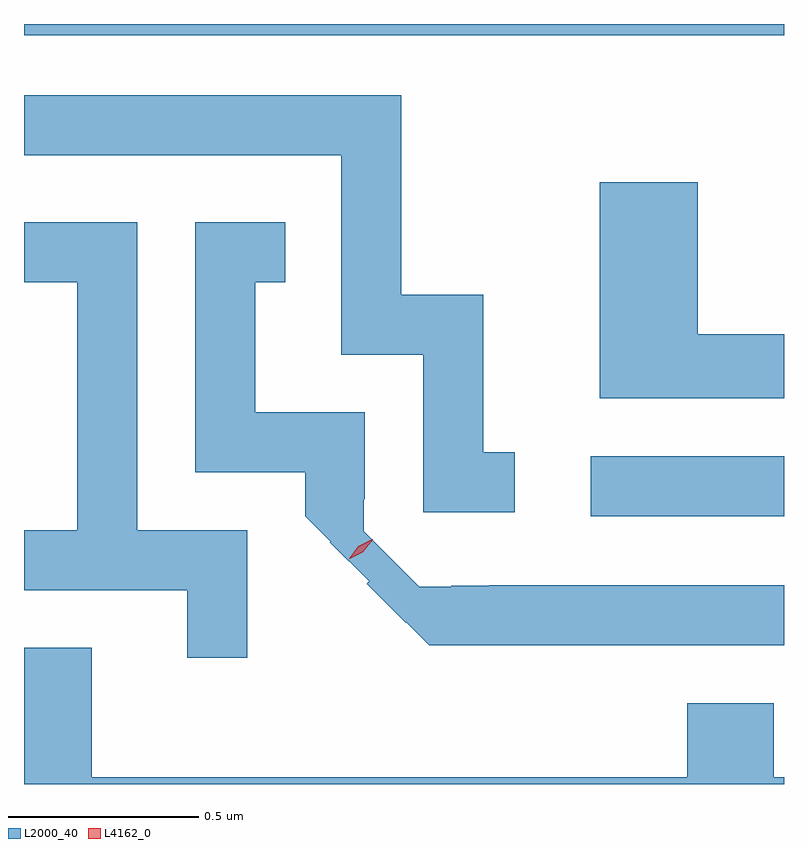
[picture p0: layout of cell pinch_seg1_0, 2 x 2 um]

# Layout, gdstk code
import gdstk
lib = gdstk.Library(unit=1e-6, precision=1e-09)
def R(c, l, rs):  # rectangles x0, y0, x1, y1
    for r in rs: c.add(gdstk.rectangle(r[:2], r[2:], *l))
def P(c, l, *ps):  # polygons
    for p in ps: c.add(gdstk.Polygon(p, *l))
L2000_40 = (2000, 40)
L4162_0 = (4162, 0)

pinch_seg1_0 = lib.new_cell('pinch_seg1_0')
R(pinch_seg1_0, L2000_40, [(1539.103,876.111,1539.611,876.269), (1537.611,877.376,1539.611,877.406)])
P(pinch_seg1_0, L2000_40, [(1538.903,876.279),(1538.819,876.279),(1538.819,876.694),(1538.604,876.694),(1538.604,877.219),(1537.611,877.219),(1537.611,877.061),(1538.446,877.061),(1538.446,876.536),(1538.661,876.536),(1538.661,876.121),(1538.903,876.121)],
  [(1539.611,876.589),(1539.384,876.589),(1539.384,876.989),(1539.126,876.989),(1539.126,876.421),(1539.611,876.421)],
  [(1538.199,876.074),(1537.909,876.074),(1537.909,876.884),(1537.611,876.884),(1537.611,876.726),(1537.751,876.726),(1537.751,876.074),(1537.611,876.074),(1537.611,875.916),(1538.041,875.916),(1538.041,875.738),(1538.199,875.738)],
  [(1539.611,875.929),(1538.835,875.929),(1538.835,875.928),(1538.735,875.928),(1538.735,875.925),(1538.651,875.925),(1538.505,876.071),(1538.505,876.155),(1538.508,876.155),(1538.508,876.384),(1538.219,876.384),(1538.219,876.726),(1538.298,876.726),(1538.298,876.884),(1538.061,876.884),(1538.061,876.226),(1538.351,876.226),(1538.351,876.111),(1538.418,876.044),(1538.416,876.042),(1538.519,875.939),(1538.513,875.933),(1538.615,875.83),(1538.617,875.832),(1538.678,875.771),(1539.611,875.771)],
  [(1539.611,875.424),(1539.584,875.424),(1539.584,875.619),(1539.356,875.619),(1539.356,875.424),(1537.789,875.424),(1537.789,875.764),(1537.611,875.764),(1537.611,875.406),(1539.611,875.406)])
P(pinch_seg1_0, L4162_0, [(1538.465,875.997),(1538.465,875.998),(1538.49,876.031),(1538.528,876.05),(1538.529,876.05),(1538.529,876.049),(1538.503,876.016),(1538.466,875.997)],
  [(1538.469,876.002),(1538.469,876.003),(1538.49,876.032),(1538.522,876.047),(1538.523,876.047),(1538.523,876.046),(1538.502,876.017),(1538.47,876.002)])

lib.write_gds('pinch_seg1_0.gds')
